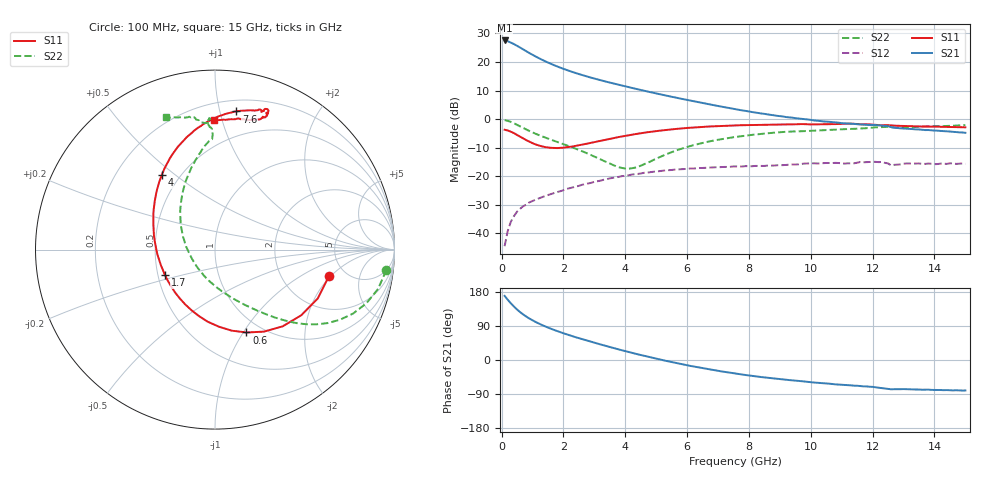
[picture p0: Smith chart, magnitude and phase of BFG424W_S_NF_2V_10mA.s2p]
! Filename BFG424W_2V_10mA.prm
! Simulation_Values
!	! Created	by	janssen	on	Thu	Sep	15	10:02:03	WETDST	2005
!	Column ranking S11, S21,S12,S22 both magnitude and phase.
!	VCE	=	2	V,	IC	=	10	mA
!	Common	Emitter	S-Parameters
#	GHz	S	MA	R	50
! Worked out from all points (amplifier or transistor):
!   150 points, 100 MHz to 15 GHz, reference 50 ohm
!   highest |S21| = 27.5 dB at 100 MHz (marker M1)
!   |S21| within 3 dB of that: start of sweep to 679.9 MHz
!   unconditionally stable (mu >= 1): 1.978 GHz to 8.155 GHz
!   at 2.6 GHz: K = 1.07, MAG = 17.6 dB, |S12| = -23.0 dB
!   at 7.6 GHz: K = 1.01, MAG = 9.4 dB, |S12| = -16.5 dB
!   at 15 GHz: K = 0.56, MSG = 5.4 dB, |S12| = -15.7 dB
!   lowest NFmin = 1.40 dB at 900 MHz
!   S11 on the Smith chart (normalised r, x): 100 MHz: 3.75, -1.89; 600 MHz: 0.85, -1.03; 1.7 GHz: 0.55, -0.17; 4 GHz: 0.40, +0.45; 7.6 GHz: 0.29, +1.12; 15 GHz: 0.32, +0.94
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0.1  0.653 -12.8  23.8 169.2  0.006 84.7  0.961 -6.8
0.2  0.634 -25.4  23.11 159.1  0.011 77.0  0.935 -13.5
0.3  0.604 -37.3  21.87 149.7  0.016 72.7  0.895 -19.5
0.4  0.57 -48.6  20.62 141.3  0.02 67.7  0.848 -24.8
0.5  0.532 -59.2  19.24 133.4  0.024 63.7  0.798 -29.3
0.6  0.494 -69.2  17.9 126.5  0.027 60.4  0.748 -33.2
0.7  0.461 -78.4  16.6 120.2  0.03 58.0  0.702 -36.4
0.8  0.43 -87.2  15.42 114.6  0.032 56.1  0.66 -39.1
0.9  0.404 -95.7  14.34 109.5  0.035 54.5  0.621 -41.5
1.1  0.362 -111.4  12.49 100.5  0.039 52.2  0.556 -45.3
1.4  0.326 -133.3  10.36 89.0  0.045 49.6  0.479 -50.3
1.7  0.313 -152.8  8.793 79.3  0.051 47.9  0.418 -54.9
2.1  0.322 -175.1  7.27 67.9  0.06 45.4  0.35 -61.7
2.6  0.357 163.2  5.929 55.2  0.071 41.7  0.275 -72.3
3.2  0.419 144.0  4.801 41.1  0.084 36.4  0.198 -91.6
4  0.511 125.5  3.744 23.4  0.102 27.5  0.137 -141.7
5.1  0.627 106.8  2.743 1.8  0.123 14.2  0.215 149.8
6.1  0.707 94.3  2.11 -15.5  0.137 2.5  0.338 123.5
7.6  0.779 81.3  1.484 -36.3  0.149 -12.2  0.491 104.1
10.1  0.81 71.4  0.95 -59.4  0.169 -29.7  0.629 91.4
12.6  0.779 70.4  0.726 -77.4  0.155 -45.3  0.723 91.6
15  0.72 90.3  0.577 -80.4  0.165 -41.4  0.786 110.5
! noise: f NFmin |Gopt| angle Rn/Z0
0.9  1.4  0.02  -63.9  0.24
2  1.6  0.06  137.4  0.19
